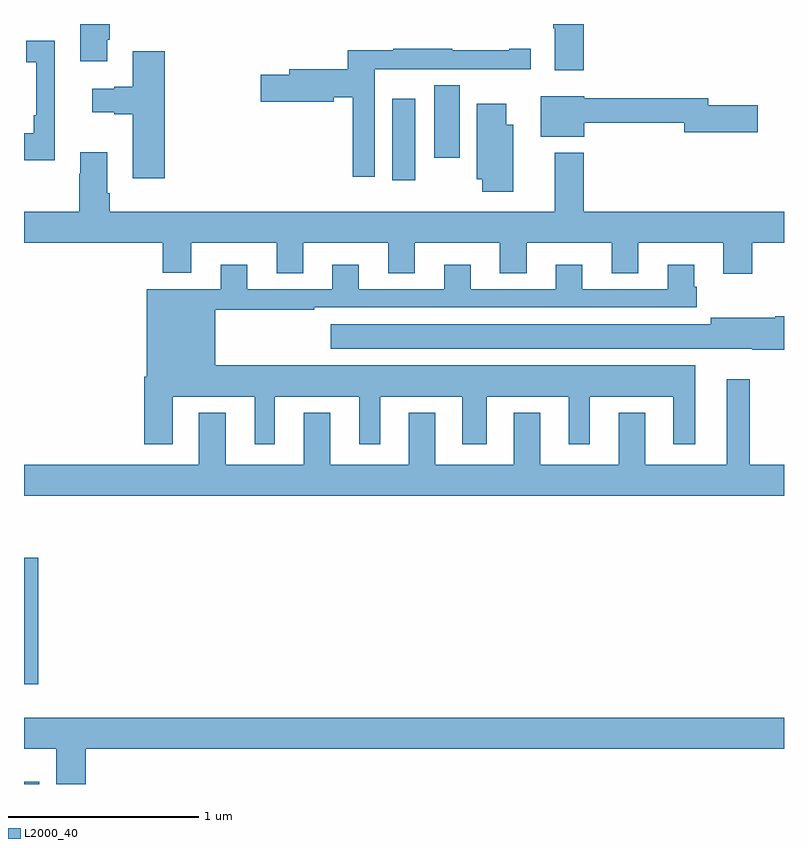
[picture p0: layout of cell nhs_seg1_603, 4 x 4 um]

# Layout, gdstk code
import gdstk
lib = gdstk.Library(unit=1e-6, precision=1e-09)
def R(c, l, rs):  # rectangles x0, y0, x1, y1
    for r in rs: c.add(gdstk.rectangle(r[:2], r[2:], *l))
def P(c, l, *ps):  # polygons
    for p in ps: c.add(gdstk.Polygon(p, *l))
L2000_40 = (2000, 40)

nhs_seg1_603 = lib.new_cell('nhs_seg1_603')
R(nhs_seg1_603, L2000_40, [(143,566.199,143.08,566.212), (143,566.724,143.075,567.391), (144.938,569.376,145.06,569.806), (145.16,569.496,145.294,569.876)])
P(nhs_seg1_603, L2000_40, [(143.437,570.115),(143.45,570.115),(143.45,570.199),(143.297,570.199),(143.297,570.003),(143.437,570.003)],
  [(145.946,570.199),(145.786,570.199),(145.786,570.176),(145.793,570.176),(145.793,569.955),(145.946,569.955)],
  [(143.162,570.112),(143.013,570.112),(143.013,569.999),(143.064,569.999),(143.064,569.719),(143.052,569.719),(143.052,569.623),(143,569.623),(143,569.483),(143.162,569.483)],
  [(144.846,569.96),(145.056,569.96),(145.056,569.961),(145.39,569.961),(145.39,569.96),(145.666,569.96),(145.666,570.07),(145.553,570.07),(145.553,570.06),(145.253,570.06),(145.253,570.07),(144.943,570.07),(144.943,570.06),(144.704,570.06),(144.704,569.961),(144.395,569.961),(144.395,569.931),(144.246,569.931),(144.246,569.789),(144.63,569.789),(144.63,569.813),(144.73,569.813),(144.73,569.394),(144.846,569.394)],
  [(143.741,570.055),(143.573,570.055),(143.573,569.87),(143.474,569.87),(143.474,569.857),(143.358,569.857),(143.358,569.735),(143.474,569.735),(143.474,569.723),(143.573,569.723),(143.573,569.388),(143.741,569.388)],
  [(145.948,569.679),(146.474,569.679),(146.474,569.629),(146.863,569.629),(146.863,569.771),(146.602,569.771),(146.602,569.807),(145.948,569.807),(145.948,569.818),(145.721,569.818),(145.721,569.606),(145.948,569.606)],
  [(145.576,569.668),(145.537,569.668),(145.537,569.779),(145.382,569.779),(145.382,569.381),(145.411,569.381),(145.411,569.316),(145.576,569.316)],
  [(146.834,569.048),(147,569.048),(147,569.212),(145.946,569.212),(145.946,569.521),(145.793,569.521),(145.793,569.212),(143.45,569.212),(143.45,569.308),(143.437,569.308),(143.437,569.524),(143.297,569.524),(143.297,569.411),(143.29,569.411),(143.29,569.212),(143,569.212),(143,569.048),(143.729,569.048),(143.729,568.889),(143.881,568.889),(143.881,569.048),(144.329,569.048),(144.329,568.888),(144.469,568.888),(144.469,569.048),(144.917,569.048),(144.917,568.888),(145.057,568.888),(145.057,569.048),(145.505,569.048),(145.505,568.888),(145.645,568.888),(145.645,569.048),(146.093,569.048),(146.093,568.888),(146.233,568.888),(146.233,569.048),(146.681,569.048),(146.681,568.884),(146.834,568.884)],
  [(143.782,568.238),(144.215,568.238),(144.215,567.987),(144.319,567.987),(144.319,568.238),(144.764,568.238),(144.764,567.987),(144.874,567.987),(144.874,568.238),(145.307,568.238),(145.307,567.987),(145.435,567.987),(145.435,568.238),(145.868,568.238),(145.868,567.987),(145.978,567.987),(145.978,568.238),(146.417,568.238),(146.417,567.987),(146.533,567.987),(146.533,568.402),(144.007,568.402),(144.007,568.695),(144.527,568.695),(144.527,568.707),(146.54,568.707),(146.54,568.815),(146.527,568.815),(146.527,568.933),(146.387,568.933),(146.387,568.803),(145.939,568.803),(145.939,568.933),(145.799,568.933),(145.799,568.803),(145.351,568.803),(145.351,568.933),(145.211,568.933),(145.211,568.803),(144.763,568.803),(144.763,568.933),(144.623,568.933),(144.623,568.803),(144.175,568.803),(144.175,568.933),(144.035,568.933),(144.035,568.804),(143.645,568.804),(143.645,568.342),(143.633,568.342),(143.633,567.987),(143.782,567.987)],
  [(147,568.662),(146.954,568.662),(146.954,568.654),(146.615,568.654),(146.615,568.618),(144.615,568.618),(144.615,568.49),(146.832,568.49),(146.832,568.484),(147,568.484)],
  [(143.921,568.153),(143.921,567.88),(143,567.88),(143,567.716),(147,567.716),(147,567.88),(146.821,567.88),(146.821,568.33),(146.699,568.33),(146.699,567.88),(146.269,567.88),(146.269,568.153),(146.129,568.153),(146.129,567.88),(145.717,567.88),(145.717,568.153),(145.577,568.153),(145.577,567.88),(145.165,567.88),(145.165,568.153),(145.025,568.153),(145.025,567.88),(144.613,567.88),(144.613,568.153),(144.473,568.153),(144.473,567.88),(144.061,567.88),(144.061,568.153)],
  [(143.324,566.384),(147,566.384),(147,566.548),(143,566.548),(143,566.384),(143.171,566.384),(143.171,566.199),(143.324,566.199)])

lib.write_gds('nhs_seg1_603.gds')
